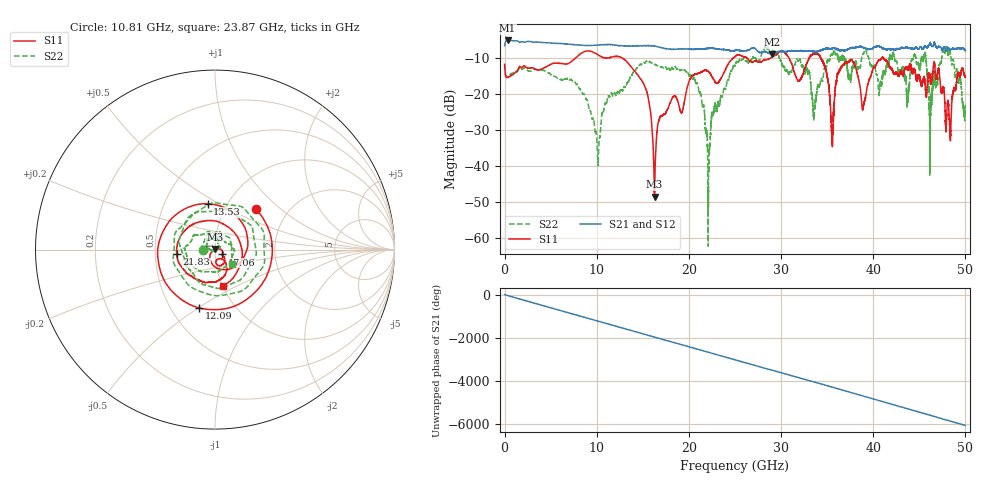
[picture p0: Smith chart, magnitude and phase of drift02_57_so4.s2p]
!Created with skrf (http://scikit-rf.org).
# Hz S RI R 50.0
!freq ReS11 ImS11 ReS21 ImS21 ReS12 ImS12 ReS22 ImS22
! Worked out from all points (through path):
!   10001 points, 300 kHz to 50 GHz, reference 50 ohm
!   highest |S21| = -5.04 dB at 325.3 MHz (marker M1); lowest = -8.9 dB at 29.05 GHz (marker M2)
!   group delay of S21, straight-line fit = 336 ps
!   lowest |S11| = -48.6 dB at 16.27 GHz (marker M3), VSWR 1.01, Z = 49.9 + j0.353 ohm
!   |S11| at or under -10 dB: start of sweep to 7.666 GHz; 12.82 GHz to 24.77 GHz (11.96 GHz wide, 63.6 % of centre); 41.13 GHz to end of sweep (the widest 3 of 11)
!   |S22| runs from -62.4 to -6.7 dB; largest |S21 - S12| = 0.028
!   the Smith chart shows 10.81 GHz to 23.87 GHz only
!   S11 on the Smith chart (normalised r, x): 10.81 GHz: 1.38, +0.70; 12.09 GHz: 0.69, -0.51; 13.53 GHz: 0.81, +0.44; 17.06 GHz: 1.09, -0.06; 21.83 GHz: 0.65, -0.03; 23.87 GHz: 1.01, -0.42
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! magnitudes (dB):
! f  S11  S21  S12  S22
! 300 kHz  -11.7  -6.5  -6.5  -11.7
! 325.3 MHz  -15.3  -5.0  -5.0  -15.1
! 8.335 GHz  -8.6  -6.4  -6.4  -19.1
! 10.11 GHz  -9.0  -6.3  -6.3  -38.7
! 10.81 GHz  -9.9  -6.2  -6.2  -23.6
! 12.09 GHz  -9.5  -6.4  -6.4  -20.3
! 13.53 GHz  -11.7  -6.6  -6.6  -16.0
! 16.27 GHz  -48.6  -6.6  -6.6  -11.7
! 16.67 GHz  -27.8  -6.8  -6.8  -12.1
! 17.06 GHz  -26.1  -7.1  -7.1  -12.4
! 21.83 GHz  -13.4  -7.3  -7.3  -30.1
! 23.87 GHz  -13.7  -7.6  -7.6  -18.2
! 25 GHz  -9.5  -7.8  -7.8  -12.0
! 29.05 GHz  -9.6  -8.9  -8.9  -8.1
! 33.34 GHz  -9.1  -8.0  -8.0  -20.0
! 35.55 GHz  -32.5  -7.2  -7.2  -9.1
! 36.79 GHz  -11.7  -7.9  -8.0  -9.7
! 38.94 GHz  -23.4  -7.1  -7.1  -8.9
! 41.67 GHz  -11.9  -7.4  -7.5  -11.8
! 46.26 GHz  -17.2  -6.2  -6.2  -23.6
! 48.12 GHz  -21.8  -7.1  -7.1  -8.9
! 50 GHz  -15.2  -7.9  -7.8  -22.9
